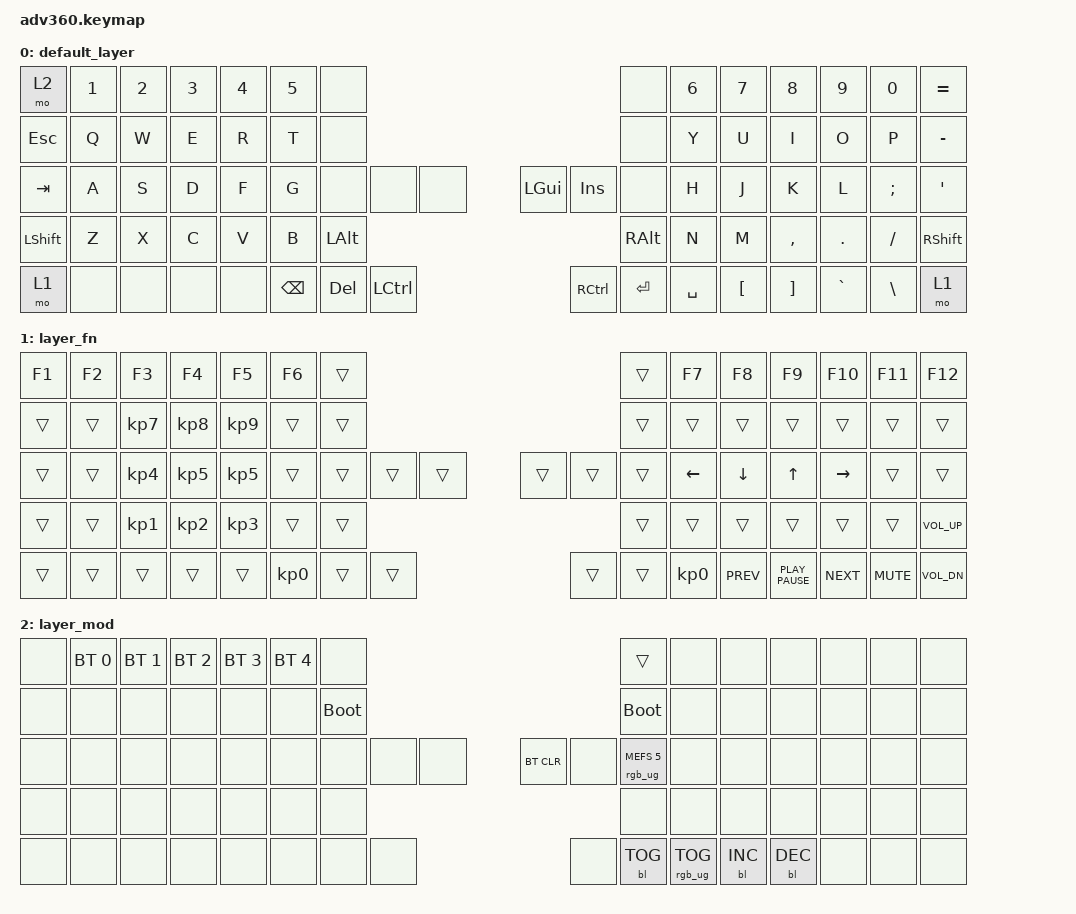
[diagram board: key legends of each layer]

/*
 * Copyright (c) 2020 The ZMK Contributors
 *
 * SPDX-License-Identifier: MIT
 */


/* THIS FILE WAS GENERATED!
 *
 * This file was generated automatically. You may or may not want to
 * edit it directly.
 */

#include <behaviors.dtsi>
#include <dt-bindings/zmk/keys.h>
#include <dt-bindings/zmk/bt.h>
#include <dt-bindings/zmk/rgb.h>
#include <dt-bindings/zmk/backlight.h>

/ {
  behaviors {
    #include "macros.dtsi"
    #include "version.dtsi"

    hm: homerow_mods {
        compatible = "zmk,behavior-hold-tap";
        label = "HOMEROW_MODS";
        #binding-cells = <2>;
        tapping-term-ms = <200>;
        quick_tap_ms = <175>;
        flavor = "tap-preferred";
        bindings = <&kp>, <&kp>;
    };
  };

    keymap {
        compatible = "zmk,keymap";


        default_layer {
            bindings = <
     &mo 2  &kp N1  &kp N2  &kp N3  &kp N4  &kp N5               &none                                                                                &none  &kp N6            &kp N7             &kp N8     &kp N9         &kp N0  &kp EQUAL
   &kp ESC   &kp Q   &kp W   &kp E   &kp R   &kp T               &none                                                                                &none   &kp Y             &kp U              &kp I      &kp O          &kp P  &kp MINUS
   &kp TAB   &kp A   &kp S   &kp D   &kp F   &kp G               &none    &none             &none                           &kp LGUI  &kp INSERT      &none   &kp H             &kp J              &kp K      &kp L       &kp SEMI    &kp SQT
 &kp LSHFT   &kp Z   &kp X   &kp C   &kp V   &kp B                                   &kp LEFT_ALT                      &kp RIGHT_ALT                          &kp N             &kp M          &kp COMMA    &kp DOT       &kp FSLH  &kp RSHFT
     &mo 1   &none   &none   &none   &none                    &kp BSPC  &kp DEL  &kp LEFT_CONTROL                  &kp RIGHT_CONTROL   &kp ENTER  &kp SPACE          &kp LEFT_BRACKET  &kp RIGHT_BRACKET  &kp GRAVE  &kp BACKSLASH      &mo 1
            >;
        };

        layer_fn {
            bindings = <
 &kp F1  &kp F2     &kp F3     &kp F4     &kp F5  &kp F6               &trans                                                     &trans    &kp F7      &kp F8            &kp F9     &kp F10     &kp F11       &kp F12
 &trans  &trans  &kp KP_N7  &kp KP_N8  &kp KP_N9  &trans               &trans                                                     &trans    &trans      &trans            &trans      &trans      &trans        &trans
 &trans  &trans  &kp KP_N4  &kp KP_N5  &kp KP_N5  &trans               &trans  &trans  &trans                  &trans  &trans     &trans  &kp LEFT    &kp DOWN            &kp UP   &kp RIGHT      &trans        &trans
 &trans  &trans  &kp KP_N1  &kp KP_N2  &kp KP_N3  &trans                               &trans                  &trans                       &trans      &trans            &trans      &trans      &trans  &kp C_VOL_UP
 &trans  &trans     &trans     &trans     &trans                    &kp KP_N0  &trans  &trans                  &trans  &trans  &kp KP_N0            &kp K_PREV  &kp K_PLAY_PAUSE  &kp K_NEXT  &kp C_MUTE  &kp C_VOL_DN
            >;
        };

        layer_mod {
            bindings = <
  &none  &bt BT_SEL 0  &bt BT_SEL 1  &bt BT_SEL 2  &bt BT_SEL 3  &bt BT_SEL 4                  &none                                                                          &trans   &none       &none       &none   &none   &none   &none
  &none         &none         &none         &none         &none         &none            &bootloader                                                                     &bootloader   &none       &none       &none   &none   &none   &none
  &none         &none         &none         &none         &none         &none                  &none   &none   &none                  &bt BT_CLR       &none  &rgb_ug RGB_MEFS_CMD 5   &none       &none       &none   &none   &none   &none
  &none         &none         &none         &none         &none         &none                                  &none                       &none                                       &none       &none       &none   &none   &none   &none
  &none         &none         &none         &none         &none                                &none   &none   &none                       &none  &bl BL_TOG         &rgb_ug RGB_TOG          &bl BL_INC  &bl BL_DEC   &none   &none   &none
            >;
        };

    };
};
